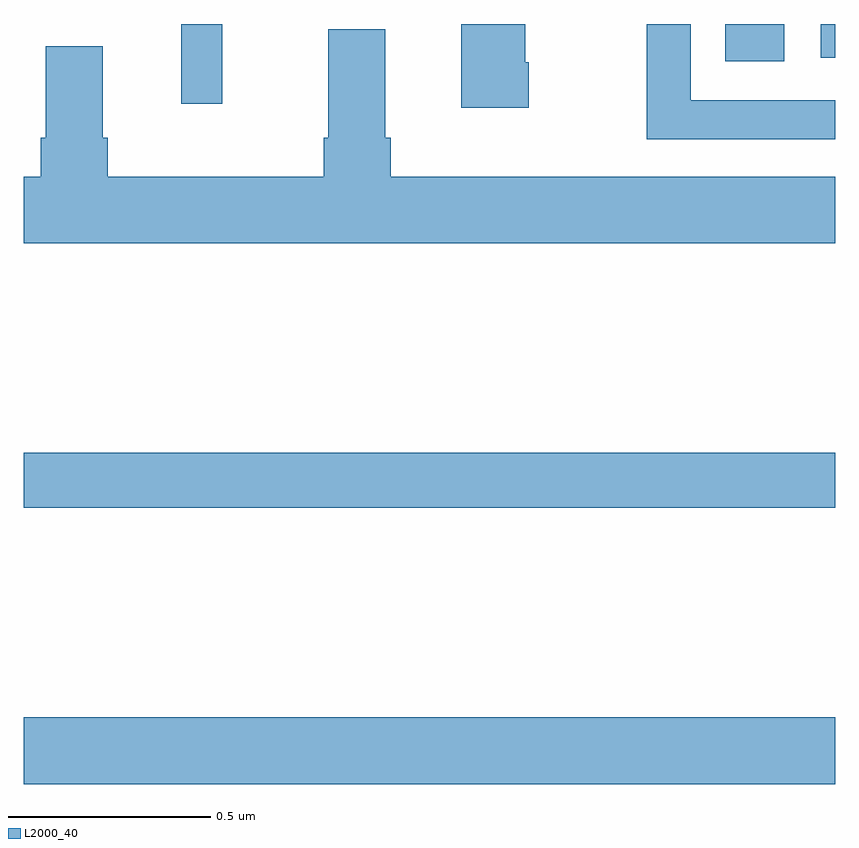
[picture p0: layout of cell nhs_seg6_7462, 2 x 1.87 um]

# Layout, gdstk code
import gdstk
lib = gdstk.Library(unit=1e-6, precision=1e-09)
def R(c, l, rs):  # rectangles x0, y0, x1, y1
    for r in rs: c.add(gdstk.rectangle(r[:2], r[2:], *l))
def P(c, l, *ps):  # polygons
    for p in ps: c.add(gdstk.Polygon(p, *l))
L2000_40 = (2000, 40)

nhs_seg6_7462 = lib.new_cell('nhs_seg6_7462')
R(nhs_seg6_7462, L2000_40, [(208,988.628,210,988.792), (208,989.308,210,989.444), (208.388,990.303,208.49,990.5), (209.728,990.408,209.874,990.5), (209.964,990.417,210,990.5)])
P(nhs_seg6_7462, L2000_40, [(210,990.312),(209.643,990.312),(209.643,990.5),(209.535,990.5),(209.535,990.216),(210,990.216)],
  [(209.244,990.406),(209.236,990.406),(209.236,990.5),(209.078,990.5),(209.078,990.294),(209.244,990.294)],
  [(208.195,990.22),(208.195,990.445),(208.055,990.445),(208.055,990.22),(208.043,990.22),(208.043,990.124),(208,990.124),(208,989.96),(210,989.96),(210,990.124),(208.904,990.124),(208.904,990.22),(208.891,990.22),(208.891,990.487),(208.751,990.487),(208.751,990.22),(208.739,990.22),(208.739,990.124),(208.208,990.124),(208.208,990.22)])

lib.write_gds('nhs_seg6_7462.gds')
